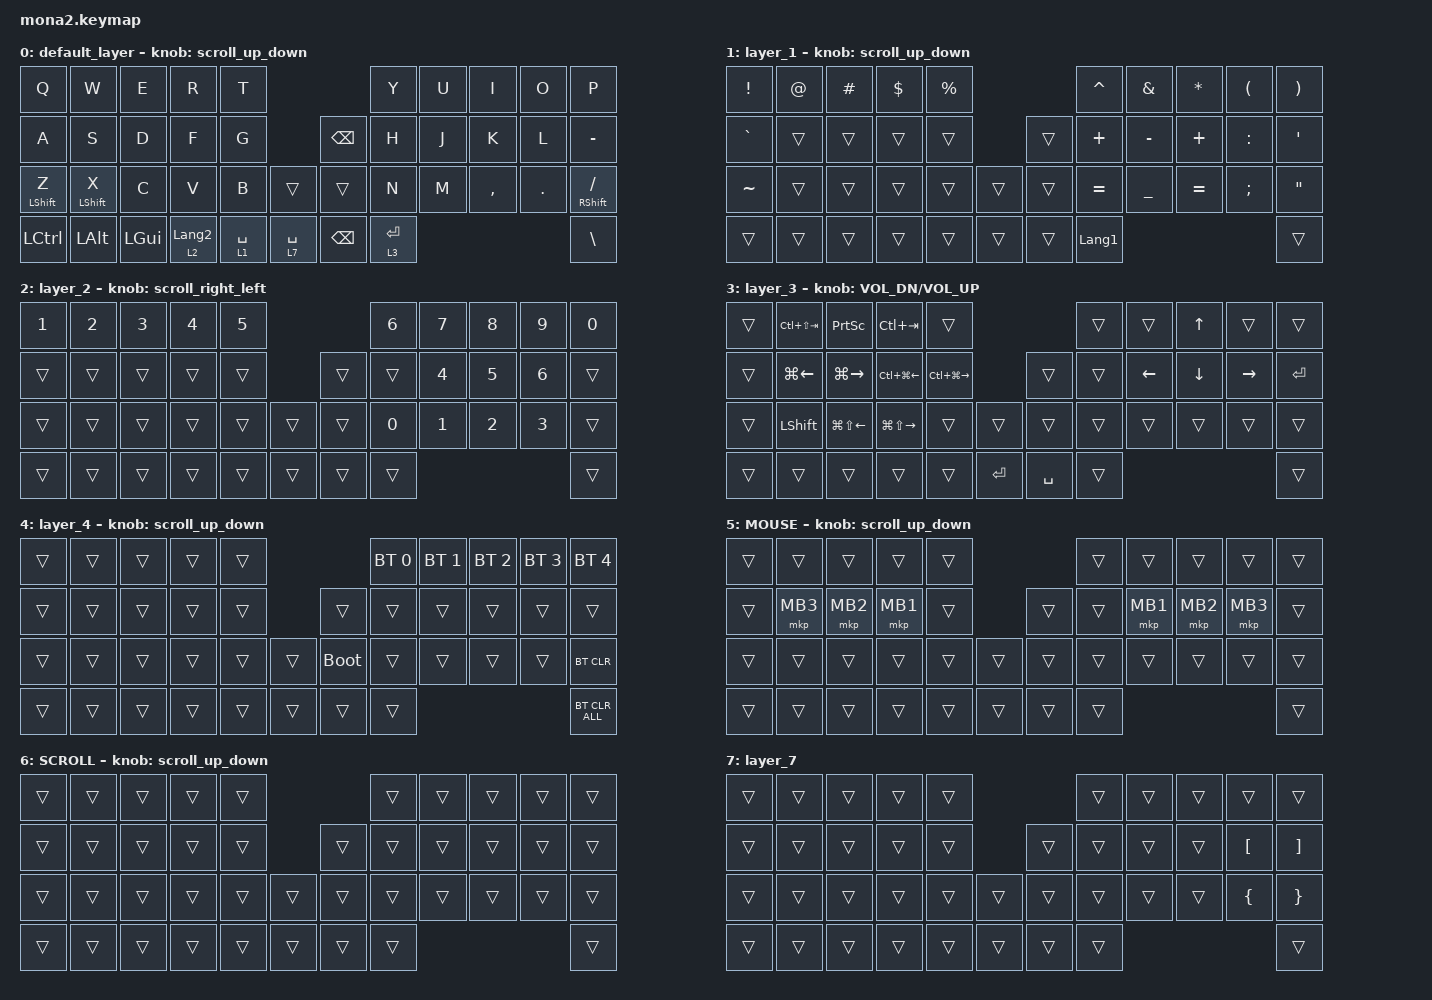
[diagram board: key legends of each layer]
#include <input/processors.dtsi>
#include <dt-bindings/zmk/input_transform.h>
#include <zephyr/dt-bindings/input/input-event-codes.h>
#include <behaviors.dtsi>
#include <dt-bindings/zmk/bt.h>
#include <dt-bindings/zmk/keys.h>
#include <dt-bindings/zmk/pointing.h>

#define ZMK_POINTING_DEFAULT_SCRL_VAL 100
#define MOUSE 5
#define SCROLL 6

&mt {
    flavor = "balanced";
    quick-tap-ms = <0>;
};

&lt {
    quick-tap-ms = <300>;
    flavor = "balanced";
};

/ {
    combos {
        compatible = "zmk,combos";

        layer4_ESC {
            bindings = <&lt 4 ESC>;
            key-positions = <0 38>;
        };

        tab {
            bindings = <&kp TAB>;
            key-positions = <11 12>;
        };

        mb1 {
            bindings = <&mkp MB1>;
            key-positions = <17 18>;
        };

        mb2 {
            bindings = <&mkp MB2>;
            key-positions = <19 20>;
        };

        cmd+space {
            bindings = <&kp LG(SPACE)>;
            key-positions = <38 39>;
        };

        shift+tab {
            bindings = <&kp LS(TAB)>;
            key-positions = <22 23>;
        };

        scroll {
            bindings = <&mo 7>;
            key-positions = <29 30>;
        };
    };

    macros {
        to_layer_0: to_layer_0 {
            compatible = "zmk,behavior-macro-one-param";
            #binding-cells = <1>;
            bindings = <&to 0 &macro_param_1to1 &kp MACRO_PLACEHOLDER>;
            label = "TO_LAYER_0";
        };
    };

    behaviors {
        lt_to_layer_0: lt_to_layer_0 {
            compatible = "zmk,behavior-hold-tap";
            label = "LAYER_TAP_TO_0";
            bindings = <&mo>, <&to_layer_0>;

            #binding-cells = <2>;
            tapping-term-ms = <200>;
        };

        scroll_up_down: mouse_wheel_up_down {
            compatible = "zmk,behavior-sensor-rotate";
            #sensor-binding-cells = <0>;
            bindings = <&msc SCRL_DOWN>, <&msc SCRL_UP>;

            tap-ms = <20>;
        };

        scroll_right_left: mouse_wheel_right_left {
            compatible = "zmk,behavior-sensor-rotate";
            #sensor-binding-cells = <0>;
            bindings = <&msc SCRL_LEFT>, <&msc SCRL_RIGHT>;

            tap-ms = <20>;
        };
    };

    keymap {
        compatible = "zmk,keymap";

        default_layer {
            bindings = <
&kp Q             &kp W             &kp E         &kp R             &kp T                                                 &kp Y                   &kp U  &kp I      &kp O    &kp P
&kp A             &kp S             &kp D         &kp F             &kp G                                  &kp BACKSPACE  &kp H                   &kp J  &kp K      &kp L    &kp MINUS
&mt LEFT_SHIFT Z  &mt LEFT_SHIFT X  &kp C         &kp V             &kp B        &trans                    &trans         &kp N                   &kp M  &kp COMMA  &kp DOT  &mt RIGHT_SHIFT SLASH
&kp LCTRL         &kp LEFT_ALT      &kp LEFT_GUI  &lt 2 LANGUAGE_2  &lt 1 SPACE  &lt_to_layer_0 7 SPACE    &kp BACKSPACE  &lt_to_layer_0 3 ENTER                             &kp BACKSLASH
            >;

            sensor-bindings = <&scroll_up_down>;
        };

        layer_1 {
            bindings = <
&kp EXCLAMATION  &kp AT_SIGN  &kp POUND  &kp DOLLAR  &kp PERCENT                    &kp CARET       &kp AMPERSAND  &kp ASTERISK  &kp LEFT_PARENTHESIS  &kp RIGHT_PARENTHESIS
&kp GRAVE        &trans       &trans     &trans      &trans                 &trans  &kp PLUS        &kp MINUS      &kp PLUS      &kp COLON             &kp SINGLE_QUOTE
&kp TILDE        &trans       &trans     &trans      &trans       &trans    &trans  &kp EQUAL       &kp UNDER      &kp EQUAL     &kp SEMI              &kp DOUBLE_QUOTES
&trans           &trans       &trans     &trans      &trans       &trans    &trans  &kp LANGUAGE_1                                                     &trans
            >;

            sensor-bindings = <&scroll_up_down>;
        };

        layer_2 {
            bindings = <
&kp NUMBER_1  &kp NUMBER_2  &kp NUMBER_3  &kp NUMBER_4  &kp NUMBER_5                    &kp NUMBER_6  &kp NUMBER_7  &kp NUMBER_8  &kp NUMBER_9  &kp NUMBER_0
&trans        &trans        &trans        &trans        &trans                  &trans  &trans        &kp NUMBER_4  &kp NUMBER_5  &kp NUMBER_6  &trans
&trans        &trans        &trans        &trans        &trans        &trans    &trans  &kp NUMBER_0  &kp NUMBER_1  &kp NUMBER_2  &kp NUMBER_3  &trans
&trans        &trans        &trans        &trans        &trans        &trans    &trans  &trans                                                  &trans
            >;

            sensor-bindings = <&scroll_right_left>;
        };

        layer_3 {
            bindings = <
&trans  &kp LC(LS(TAB))     &kp PRINTSCREEN         &kp LC(TAB)              &trans                                           &trans  &trans          &kp UP_ARROW    &trans           &trans
&trans  &kp LG(LEFT_ARROW)  &kp LG(RIGHT_ARROW)     &kp LC(LG(LEFT_ARROW))   &kp LC(LG(RIGHT_ARROW))               &trans     &trans  &kp LEFT_ARROW  &kp DOWN_ARROW  &kp RIGHT_ARROW  &kp ENTER
&trans  &kp LEFT_SHIFT      &kp LG(LS(LEFT_ARROW))  &kp LG(LS(RIGHT_ARROW))  &trans                   &trans       &trans     &trans  &trans          &trans          &trans           &trans
&trans  &trans              &trans                  &trans                   &trans                   &kp ENTER    &kp SPACE  &trans                                                   &trans
            >;

            sensor-bindings = <&inc_dec_kp C_VOL_DN C_VOL_UP>;
        };

        layer_4 {
            bindings = <
&trans  &trans  &trans  &trans  &trans                         &bt BT_SEL 0  &bt BT_SEL 1  &bt BT_SEL 2  &bt BT_SEL 3  &bt BT_SEL 4
&trans  &trans  &trans  &trans  &trans            &trans       &trans        &trans        &trans        &trans        &trans
&trans  &trans  &trans  &trans  &trans  &trans    &bootloader  &trans        &trans        &trans        &trans        &bt BT_CLR
&trans  &trans  &trans  &trans  &trans  &trans    &trans       &trans                                                  &bt BT_CLR_ALL
            >;

            sensor-bindings = <&scroll_up_down>;
        };

        MOUSE {
            bindings = <
&trans  &trans    &trans    &trans    &trans                    &trans  &trans    &trans    &trans    &trans
&trans  &mkp MB3  &mkp MB2  &mkp MB1  &trans            &trans  &trans  &mkp MB1  &mkp MB2  &mkp MB3  &trans
&trans  &trans    &trans    &trans    &trans  &trans    &trans  &trans  &trans    &trans    &trans    &trans
&trans  &trans    &trans    &trans    &trans  &trans    &trans  &trans                                &trans
            >;

            sensor-bindings = <&scroll_up_down>;
        };

        SCROLL {
            bindings = <
&trans  &trans  &trans  &trans  &trans                    &trans  &trans  &trans  &trans  &trans
&trans  &trans  &trans  &trans  &trans            &trans  &trans  &trans  &trans  &trans  &trans
&trans  &trans  &trans  &trans  &trans  &trans    &trans  &trans  &trans  &trans  &trans  &trans
&trans  &trans  &trans  &trans  &trans  &trans    &trans  &trans                          &trans
            >;

            sensor-bindings = <&scroll_up_down>;
        };

        layer_7 {
            bindings = <
&trans  &trans  &trans  &trans  &trans                    &trans  &trans  &trans  &trans            &trans
&trans  &trans  &trans  &trans  &trans            &trans  &trans  &trans  &trans  &kp LEFT_BRACKET  &kp RIGHT_BRACKET
&trans  &trans  &trans  &trans  &trans  &trans    &trans  &trans  &trans  &trans  &kp LEFT_BRACE    &kp RIGHT_BRACE
&trans  &trans  &trans  &trans  &trans  &trans    &trans  &trans                                    &trans
            >;
        };
    };
};
